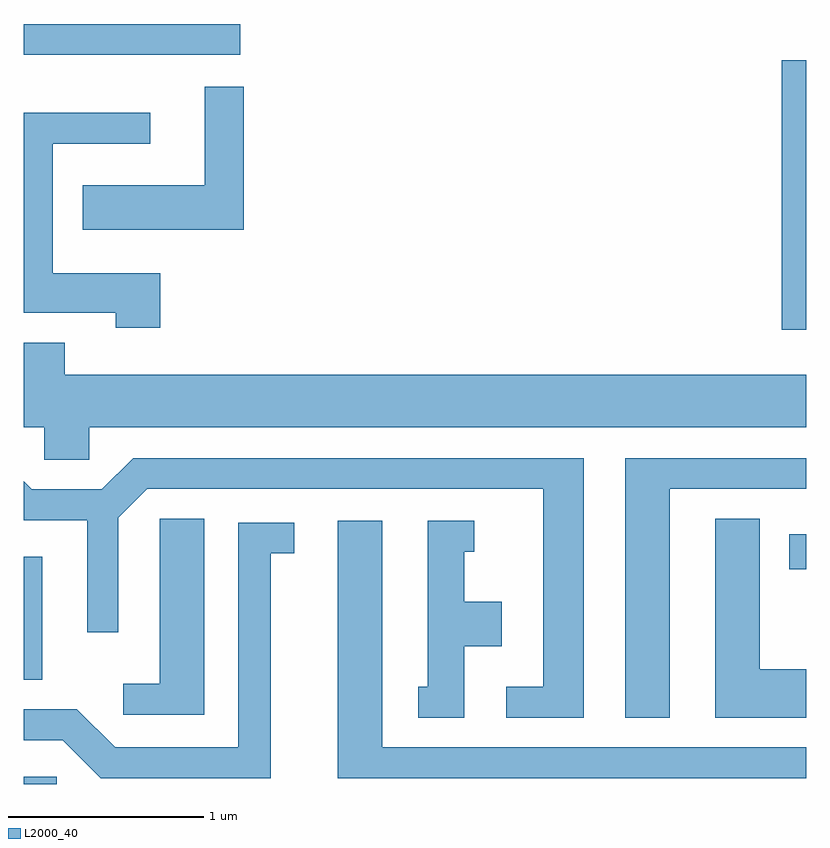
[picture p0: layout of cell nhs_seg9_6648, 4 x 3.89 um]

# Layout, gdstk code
import gdstk
lib = gdstk.Library(unit=1e-6, precision=1e-09)
def R(c, l, rs):  # rectangles x0, y0, x1, y1
    for r in rs: c.add(gdstk.rectangle(r[:2], r[2:], *l))
def P(c, l, *ps):  # polygons
    for p in ps: c.add(gdstk.Polygon(p, *l))
L2000_40 = (2000, 40)

nhs_seg9_6648 = lib.new_cell('nhs_seg9_6648')
R(nhs_seg9_6648, L2000_40, [(381.611,1994.432,381.779,1994.469), (381.611,1994.966,381.704,1995.594), (385.526,1995.531,385.611,1995.709), (385.486,1996.756,385.611,1998.134), (381.611,1998.161,382.718,1998.319)])
P(nhs_seg9_6648, L2000_40, [(382.734,1997.999),(382.536,1997.999),(382.536,1997.494),(381.911,1997.494),(381.911,1997.266),(382.734,1997.266)],
  [(382.309,1997.044),(381.759,1997.044),(381.759,1997.706),(382.258,1997.706),(382.258,1997.864),(381.611,1997.864),(381.611,1996.841),(382.081,1996.841),(382.081,1996.766),(382.309,1996.766)],
  [(381.944,1996.256),(385.611,1996.256),(385.611,1996.524),(381.819,1996.524),(381.819,1996.689),(381.611,1996.689),(381.611,1996.256),(381.716,1996.256),(381.716,1996.091),(381.944,1996.091)],
  [(384.474,1996.099),(382.169,1996.099),(382.009,1995.939),(381.652,1995.939),(381.611,1995.98),(381.611,1995.781),(381.936,1995.781),(381.936,1995.208),(382.094,1995.208),(382.094,1995.794),(382.242,1995.941),(384.266,1995.941),(384.266,1994.929),(384.078,1994.929),(384.078,1994.771),(384.474,1994.771)],
  [(384.914,1995.941),(385.611,1995.941),(385.611,1996.099),(384.686,1996.099),(384.686,1994.771),(384.914,1994.771)],
  [(385.611,1995.019),(385.374,1995.019),(385.374,1995.789),(385.146,1995.789),(385.146,1994.771),(385.611,1994.771)],
  [(382.534,1995.789),(382.306,1995.789),(382.306,1994.944),(382.118,1994.944),(382.118,1994.786),(382.534,1994.786)],
  [(383.864,1995.136),(384.054,1995.136),(384.054,1995.364),(383.864,1995.364),(383.864,1995.621),(383.913,1995.621),(383.913,1995.779),(383.676,1995.779),(383.676,1994.929),(383.628,1994.929),(383.628,1994.771),(383.864,1994.771)],
  [(385.611,1994.619),(383.444,1994.619),(383.444,1995.779),(383.216,1995.779),(383.216,1994.461),(385.611,1994.461)],
  [(382.874,1995.611),(382.993,1995.611),(382.993,1995.769),(382.706,1995.769),(382.706,1994.619),(382.077,1994.619),(381.882,1994.814),(381.611,1994.814),(381.611,1994.656),(381.809,1994.656),(382.004,1994.461),(382.874,1994.461)])

lib.write_gds('nhs_seg9_6648.gds')
